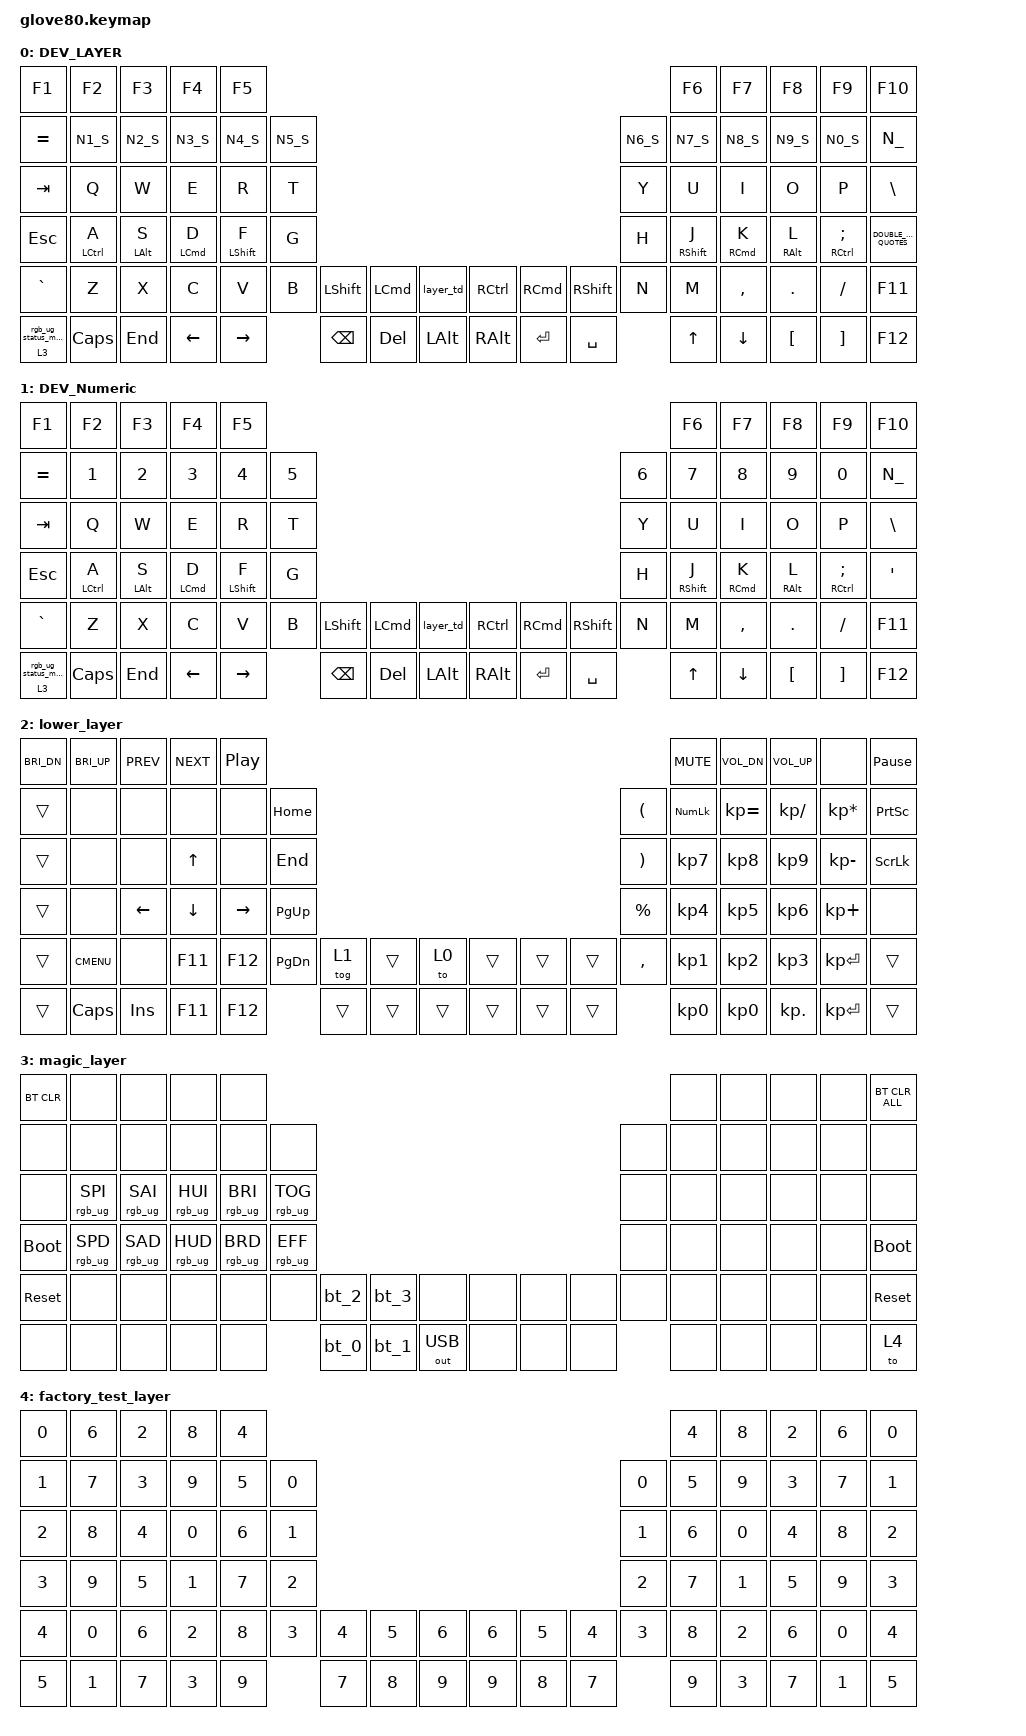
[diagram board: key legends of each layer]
/*
 * Copyright (c) 2020 The ZMK Contributors
 *
 * SPDX-License-Identifier: MIT
 */

#include <behaviors.dtsi>
#include <dt-bindings/zmk/bt.h>
#include <dt-bindings/zmk/keys.h>
#include <dt-bindings/zmk/outputs.h>
#include <dt-bindings/zmk/rgb.h>

#define HYPER LC(LS(LG(LALT)))

// layers

#define DEFAULT 0
#define LOWER 1
#define MAGIC 2
#define FACTORY_TEST 3

/ {
    behaviors {
        // For the "layer" key, it'd nice to be able to use it as either a shift or a toggle.
        // Configure it as a tap dance, so the first tap (or hold) is a &mo and the second tap is a &to

        layer_td: tap_dance_0 {
            compatible = "zmk,behavior-tap-dance";
            label = "LAYER_TAP_DANCE";
            #binding-cells = <0>;
            tapping-term-ms = <200>;
            bindings = <&mo 2>, <&to 2>;
        };

        magic: magic_hold_tap {
            compatible = "zmk,behavior-hold-tap";
            label = "MAGIC_HOLD_TAP";
            #binding-cells = <2>;
            flavor = "tap-preferred";
            tapping-term-ms = <200>;
            bindings = <&mo>, <&rgb_ug_status_macro>;
        };

        hm: hm {
            compatible = "zmk,behavior-hold-tap";
            label = "HM";
            bindings = <&kp>, <&kp>;

            #binding-cells = <2>;
            tapping-term-ms = <200>;
            quick-tap-ms = <175>;
            require-prior-idle-ms = <175>;
            flavor = "balanced";
        };

        N1_S: N1_S {
            compatible = "zmk,behavior-mod-morph";
            label = "N1_S";
            bindings = <&kp EXCLAMATION>, <&kp N1>;

            #binding-cells = <0>;
            mods = <(MOD_LSFT|MOD_RSFT)>;
        };

        N2_S: N2_S {
            compatible = "zmk,behavior-mod-morph";
            label = "N2_S";
            bindings = <&kp RS(AT_SIGN)>, <&kp N2>;

            #binding-cells = <0>;
            mods = <(MOD_LSFT|MOD_RSFT)>;
        };

        N3_S: N3_S {
            compatible = "zmk,behavior-mod-morph";
            label = "N3_S";
            bindings = <&kp HASH>, <&kp N3>;

            #binding-cells = <0>;
            mods = <(MOD_LSFT|MOD_RSFT)>;
        };

        N4_S: N4_S {
            compatible = "zmk,behavior-mod-morph";
            label = "N4_S";
            bindings = <&kp DOLLAR>, <&kp N4>;

            #binding-cells = <0>;
            mods = <(MOD_LSFT|MOD_RSFT)>;
        };

        N5_S: N5_S {
            compatible = "zmk,behavior-mod-morph";
            label = "N5_S";
            bindings = <&kp PERCENT>, <&kp N5>;

            #binding-cells = <0>;
            mods = <(MOD_LSFT|MOD_RSFT)>;
        };

        N6_S: N6_S {
            compatible = "zmk,behavior-mod-morph";
            label = "N6_S";
            bindings = <&kp CARET>, <&kp N6>;

            #binding-cells = <0>;
            mods = <(MOD_LSFT|MOD_RSFT)>;
        };

        N7_S: N7_S {
            compatible = "zmk,behavior-mod-morph";
            label = "N7_S";
            bindings = <&kp AMPERSAND>, <&kp N7>;

            #binding-cells = <0>;
            mods = <(MOD_LSFT|MOD_RSFT)>;
        };

        N8_S: N8_S {
            compatible = "zmk,behavior-mod-morph";
            label = "N8_S";
            bindings = <&kp ASTRK>, <&kp N8>;

            #binding-cells = <0>;
            mods = <(MOD_LSFT|MOD_RSFT)>;
        };

        N9_S: N9_S {
            compatible = "zmk,behavior-mod-morph";
            label = "N9_S";
            bindings = <&kp LEFT_PARENTHESIS>, <&kp N9>;

            #binding-cells = <0>;
            mods = <(MOD_LSFT|MOD_RSFT)>;
        };

        N0_S: N0_S {
            compatible = "zmk,behavior-mod-morph";
            label = "N0_S";
            bindings = <&kp RIGHT_PARENTHESIS>, <&kp N0>;

            #binding-cells = <0>;
            mods = <(MOD_LSFT|MOD_RSFT)>;
        };

        N_: N_ {
            compatible = "zmk,behavior-mod-morph";
            label = "N_";
            bindings = <&kp UNDERSCORE>, <&kp MINUS>;

            #binding-cells = <0>;
            mods = <(MOD_LSFT|MOD_RSFT)>;
        };

        DOUBLE_SINGE_QUOTES: DOUBLE_SINGE_QUOTES {
            compatible = "zmk,behavior-mod-morph";
            label = "DOUBLE_SINGE_QUOTES";
            bindings = <&kp DOUBLE_QUOTES>, <&kp SINGLE_QUOTE>;

            #binding-cells = <0>;
            mods = <(MOD_LSFT|MOD_RSFT)>;
        };
    };

    macros {
        rgb_ug_status_macro: rgb_ug_status_macro_0 {
            label = "RGB_UG_STATUS";
            compatible = "zmk,behavior-macro";
            #binding-cells = <0>;
            bindings = <&rgb_ug RGB_STATUS>;
        };

        bt_0: bt_profile_macro_0 {
            label = "BT_0";
            compatible = "zmk,behavior-macro";
            #binding-cells = <0>;
            bindings = <&out OUT_BLE &bt BT_SEL 0>;
        };

        bt_1: bt_profile_macro_1 {
            label = "BT_1";
            compatible = "zmk,behavior-macro";
            #binding-cells = <0>;
            bindings = <&out OUT_BLE &bt BT_SEL 1>;
        };

        bt_2: bt_profile_macro_2 {
            label = "BT_2";
            compatible = "zmk,behavior-macro";
            #binding-cells = <0>;
            bindings = <&out OUT_BLE &bt BT_SEL 2>;
        };

        bt_3: bt_profile_macro_3 {
            label = "BT_3";
            compatible = "zmk,behavior-macro";
            #binding-cells = <0>;
            bindings = <&out OUT_BLE &bt BT_SEL 3>;
        };
    };

    keymap {
        compatible = "zmk,keymap";

        DEV_LAYER {
            bindings = <
&kp F1      &kp F2              &kp F3          &kp F4              &kp F5                                                                                                                   &kp F6             &kp F7               &kp F8           &kp F9                       &kp F10
&kp EQUAL   &N1_S               &N2_S           &N3_S               &N4_S             &N5_S                                                                                           &N6_S  &N7_S              &N8_S                &N9_S            &N0_S                        &N_
&kp TAB     &kp Q               &kp W           &kp E               &kp R             &kp T                                                                                           &kp Y  &kp U              &kp I                &kp O            &kp P                        &kp BSLH
&kp ESC     &hm LEFT_CONTROL A  &hm LEFT_ALT S  &hm LEFT_COMMAND D  &hm LEFT_SHIFT F  &kp G                                                                                           &kp H  &hm RIGHT_SHIFT J  &hm RIGHT_COMMAND K  &hm RIGHT_ALT L  &hm RIGHT_CONTROL SEMICOLON  &DOUBLE_SINGE_QUOTES
&kp GRAVE   &kp Z               &kp X           &kp C               &kp V             &kp B  &kp LSHFT  &kp LEFT_COMMAND  &layer_td  &kp RIGHT_CONTROL  &kp RIGHT_COMMAND  &kp RSHFT  &kp N  &kp M              &kp COMMA            &kp DOT          &kp FSLH                     &kp F11
&magic 3 0  &kp CAPS            &kp END         &kp LEFT            &kp RIGHT                &kp BSPC   &kp DEL           &kp LALT   &kp RALT           &kp RET            &kp SPACE         &kp UP             &kp DOWN             &kp LBKT         &kp RBKT                     &kp F12
            >;
        };

        DEV_Numeric {
            bindings = <
&kp F1      &kp F2              &kp F3          &kp F4              &kp F5                                                                                                                     &kp F6             &kp F7               &kp F8           &kp F9                       &kp F10
&kp EQUAL   &kp N1              &kp N2          &kp N3              &kp N4            &kp N5                                                                                           &kp N6  &kp N7             &kp N8               &kp N9           &kp N0                       &N_
&kp TAB     &kp Q               &kp W           &kp E               &kp R             &kp T                                                                                            &kp Y   &kp U              &kp I                &kp O            &kp P                        &kp BSLH
&kp ESC     &hm LEFT_CONTROL A  &hm LEFT_ALT S  &hm LEFT_COMMAND D  &hm LEFT_SHIFT F  &kp G                                                                                            &kp H   &hm RIGHT_SHIFT J  &hm RIGHT_COMMAND K  &hm RIGHT_ALT L  &hm RIGHT_CONTROL SEMICOLON  &kp SQT
&kp GRAVE   &kp Z               &kp X           &kp C               &kp V             &kp B   &kp LSHFT  &kp LEFT_COMMAND  &layer_td  &kp RIGHT_CONTROL  &kp RIGHT_COMMAND  &kp RSHFT  &kp N   &kp M              &kp COMMA            &kp DOT          &kp FSLH                     &kp F11
&magic 3 0  &kp CAPS            &kp END         &kp LEFT            &kp RIGHT                 &kp BSPC   &kp DEL           &kp LALT   &kp RALT           &kp RET            &kp SPACE          &kp UP             &kp DOWN             &kp LBKT         &kp RBKT                     &kp F12
            >;
        };

        lower_layer {
            bindings = <
&kp C_BRI_DN  &kp C_BRI_UP  &kp C_PREV  &kp C_NEXT  &kp C_PP                                                                         &kp C_MUTE  &kp C_VOL_DN  &kp C_VOL_UP   &none            &kp PAUSE_BREAK
&trans        &none         &none       &none       &none      &kp HOME                                                   &kp LPAR   &kp KP_NUM  &kp KP_EQUAL  &kp KP_DIVIDE  &kp KP_MULTIPLY  &kp PSCRN
&trans        &none         &none       &kp UP      &none      &kp END                                                    &kp RPAR   &kp KP_N7   &kp KP_N8     &kp KP_N9      &kp KP_MINUS     &kp SLCK
&trans        &none         &kp LEFT    &kp DOWN    &kp RIGHT  &kp PG_UP                                                  &kp PRCNT  &kp KP_N4   &kp KP_N5     &kp KP_N6      &kp KP_PLUS      &none
&trans        &kp K_CMENU   &none       &kp F11     &kp F12    &kp PG_DN  &tog 1  &trans  &to 0   &trans  &trans  &trans  &kp COMMA  &kp KP_N1   &kp KP_N2     &kp KP_N3      &kp KP_ENTER     &trans
&trans        &kp CAPS      &kp INS     &kp F11     &kp F12               &trans  &trans  &trans  &trans  &trans  &trans             &kp KP_N0   &kp KP_N0     &kp KP_DOT     &kp KP_ENTER     &trans
            >;
        };

        magic_layer {
            bindings = <
&bt BT_CLR   &none            &none            &none            &none                                                                                     &none  &none  &none  &none  &bt BT_CLR_ALL
&none        &none            &none            &none            &none            &none                                                             &none  &none  &none  &none  &none  &none
&none        &rgb_ug RGB_SPI  &rgb_ug RGB_SAI  &rgb_ug RGB_HUI  &rgb_ug RGB_BRI  &rgb_ug RGB_TOG                                                   &none  &none  &none  &none  &none  &none
&bootloader  &rgb_ug RGB_SPD  &rgb_ug RGB_SAD  &rgb_ug RGB_HUD  &rgb_ug RGB_BRD  &rgb_ug RGB_EFF                                                   &none  &none  &none  &none  &none  &bootloader
&sys_reset   &none            &none            &none            &none            &none            &bt_2  &bt_3  &none         &none  &none  &none  &none  &none  &none  &none  &none  &sys_reset
&none        &none            &none            &none            &none                             &bt_0  &bt_1  &out OUT_USB  &none  &none  &none         &none  &none  &none  &none  &to 4
            >;
        };

        factory_test_layer {
            bindings = <
&kp N0  &kp N6  &kp N2  &kp N8  &kp N4                                                                  &kp N4  &kp N8  &kp N2  &kp N6  &kp N0
&kp N1  &kp N7  &kp N3  &kp N9  &kp N5  &kp N0                                                  &kp N0  &kp N5  &kp N9  &kp N3  &kp N7  &kp N1
&kp N2  &kp N8  &kp N4  &kp N0  &kp N6  &kp N1                                                  &kp N1  &kp N6  &kp N0  &kp N4  &kp N8  &kp N2
&kp N3  &kp N9  &kp N5  &kp N1  &kp N7  &kp N2                                                  &kp N2  &kp N7  &kp N1  &kp N5  &kp N9  &kp N3
&kp N4  &kp N0  &kp N6  &kp N2  &kp N8  &kp N3  &kp N4  &kp N5  &kp N6  &kp N6  &kp N5  &kp N4  &kp N3  &kp N8  &kp N2  &kp N6  &kp N0  &kp N4
&kp N5  &kp N1  &kp N7  &kp N3  &kp N9          &kp N7  &kp N8  &kp N9  &kp N9  &kp N8  &kp N7          &kp N9  &kp N3  &kp N7  &kp N1  &kp N5
            >;
        };
    };
};
